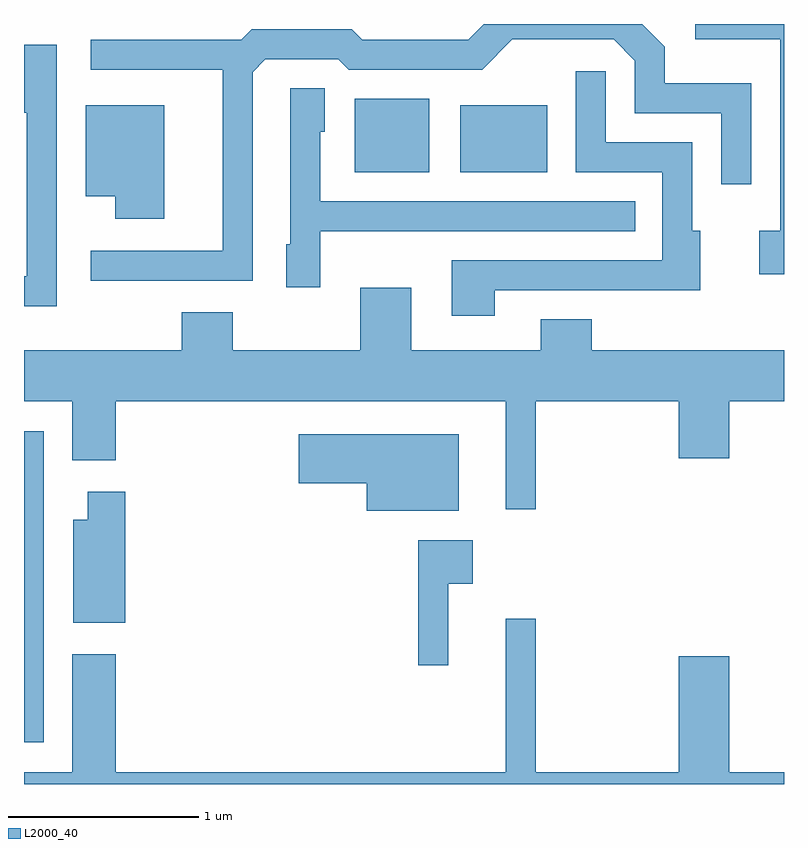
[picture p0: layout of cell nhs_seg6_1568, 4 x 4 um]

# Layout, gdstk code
import gdstk
lib = gdstk.Library(unit=1e-6, precision=1e-09)
def R(c, l, rs):  # rectangles x0, y0, x1, y1
    for r in rs: c.add(gdstk.rectangle(r[:2], r[2:], *l))
def P(c, l, *ps):  # polygons
    for p in ps: c.add(gdstk.Polygon(p, *l))
L2000_40 = (2000, 40)

nhs_seg6_1568 = lib.new_cell('nhs_seg6_1568')
R(nhs_seg6_1568, L2000_40, [(231.611,1630.381,231.714,1632.019), (233.351,1633.381,233.744,1633.769), (233.906,1633.381,234.364,1633.734)])
P(nhs_seg6_1568, L2000_40, [(235.611,1634.162),(235.143,1634.162),(235.143,1634.081),(235.591,1634.081),(235.591,1633.074),(235.481,1633.074),(235.481,1632.846),(235.611,1632.846)],
  [(232.814,1633.909),(232.882,1633.976),(233.264,1633.976),(233.319,1633.921),(234.022,1633.921),(234.182,1634.081),(234.714,1634.081),(234.826,1633.969),(234.826,1633.691),(235.281,1633.691),(235.281,1633.318),(235.439,1633.318),(235.439,1633.849),(234.984,1633.849),(234.984,1634.042),(234.864,1634.162),(234.032,1634.162),(233.949,1634.079),(233.392,1634.079),(233.337,1634.134),(232.809,1634.134),(232.754,1634.079),(231.963,1634.079),(231.963,1633.921),(232.656,1633.921),(232.656,1632.969),(231.963,1632.969),(231.963,1632.811),(232.814,1632.811)],
  [(231.784,1634.054),(231.611,1634.054),(231.611,1633.696),(231.626,1633.696),(231.626,1632.834),(231.611,1632.834),(231.611,1632.676),(231.784,1632.676)],
  [(234.089,1632.761),(235.169,1632.761),(235.169,1633.074),(235.129,1633.074),(235.129,1633.539),(234.674,1633.539),(234.674,1633.913),(234.516,1633.913),(234.516,1633.381),(234.971,1633.381),(234.971,1632.919),(233.861,1632.919),(233.861,1632.626),(234.089,1632.626)],
  [(233.169,1633.071),(234.828,1633.071),(234.828,1633.229),(233.169,1633.229),(233.169,1633.596),(233.194,1633.596),(233.194,1633.824),(233.011,1633.824),(233.011,1633.004),(232.991,1633.004),(232.991,1632.776),(233.169,1632.776)],
  [(232.349,1633.734),(231.936,1633.734),(231.936,1633.256),(232.091,1633.256),(232.091,1633.136),(232.349,1633.136)],
  [(234.304,1632.176),(235.056,1632.176),(235.056,1631.876),(235.324,1631.876),(235.324,1632.176),(235.611,1632.176),(235.611,1632.444),(234.599,1632.444),(234.599,1632.609),(234.331,1632.609),(234.331,1632.444),(233.649,1632.444),(233.649,1632.774),(233.381,1632.774),(233.381,1632.444),(232.709,1632.444),(232.709,1632.644),(232.441,1632.644),(232.441,1632.444),(231.611,1632.444),(231.611,1632.176),(231.866,1632.176),(231.866,1631.866),(232.094,1631.866),(232.094,1632.176),(234.146,1632.176),(234.146,1631.608),(234.304,1631.608)],
  [(233.899,1632.004),(233.056,1632.004),(233.056,1631.746),(233.416,1631.746),(233.416,1631.601),(233.899,1631.601)],
  [(232.144,1631.699),(231.946,1631.699),(231.946,1631.554),(231.871,1631.554),(231.871,1631.011),(232.144,1631.011)],
  [(233.844,1631.216),(233.974,1631.216),(233.974,1631.444),(233.686,1631.444),(233.686,1630.788),(233.844,1630.788)],
  [(231.866,1630.844),(231.866,1630.224),(231.611,1630.224),(231.611,1630.162),(235.611,1630.162),(235.611,1630.224),(235.324,1630.224),(235.324,1630.834),(235.056,1630.834),(235.056,1630.224),(234.304,1630.224),(234.304,1631.033),(234.146,1631.033),(234.146,1630.224),(232.094,1630.224),(232.094,1630.844)])

lib.write_gds('nhs_seg6_1568.gds')
